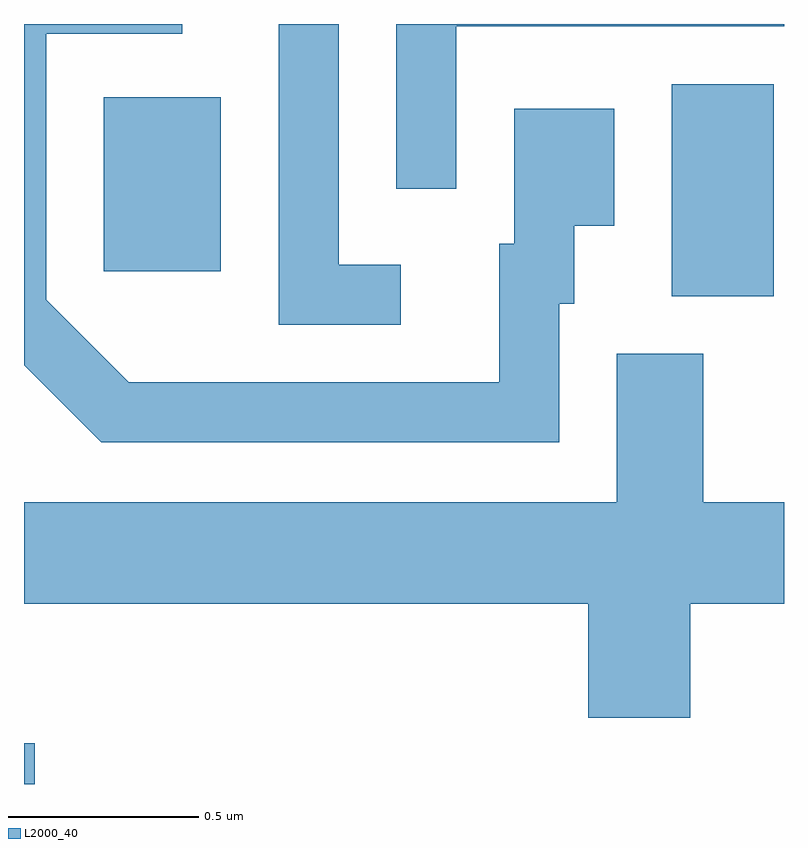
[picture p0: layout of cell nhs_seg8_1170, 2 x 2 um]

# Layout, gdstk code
import gdstk
lib = gdstk.Library(unit=1e-6, precision=1e-09)
def R(c, l, rs):  # rectangles x0, y0, x1, y1
    for r in rs: c.add(gdstk.rectangle(r[:2], r[2:], *l))
def P(c, l, *ps):  # polygons
    for p in ps: c.add(gdstk.Polygon(p, *l))
L2000_40 = (2000, 40)

nhs_seg8_1170 = lib.new_cell('nhs_seg8_1170')
R(nhs_seg8_1170, L2000_40, [(193.611,1880.342,193.639,1880.449), (195.316,1881.626,195.584,1882.184), (193.821,1881.691,194.129,1882.149)])
P(nhs_seg8_1170, L2000_40, [(195.019,1881.606),(195.059,1881.606),(195.059,1881.811),(195.164,1881.811),(195.164,1882.119),(194.901,1882.119),(194.901,1881.764),(194.861,1881.764),(194.861,1881.399),(193.887,1881.399),(193.669,1881.617),(193.669,1882.316),(194.028,1882.316),(194.028,1882.342),(193.611,1882.342),(193.611,1881.444),(193.814,1881.241),(195.019,1881.241)],
  [(194.603,1881.709),(194.439,1881.709),(194.439,1882.342),(194.281,1882.342),(194.281,1881.551),(194.603,1881.551)],
  [(194.749,1882.336),(195.611,1882.336),(195.611,1882.342),(194.591,1882.342),(194.591,1881.908),(194.749,1881.908)],
  [(195.364,1880.816),(195.611,1880.816),(195.611,1881.084),(195.399,1881.084),(195.399,1881.474),(195.171,1881.474),(195.171,1881.084),(193.611,1881.084),(193.611,1880.816),(195.096,1880.816),(195.096,1880.516),(195.364,1880.516)])

lib.write_gds('nhs_seg8_1170.gds')
